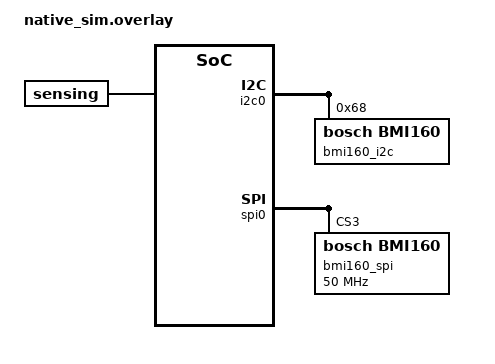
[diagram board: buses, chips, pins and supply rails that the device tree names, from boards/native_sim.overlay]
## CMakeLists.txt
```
# SPDX-License-Identifier: Apache-2.0

cmake_minimum_required(VERSION 3.28.0)
find_package(Zephyr REQUIRED HINTS $ENV{ZEPHYR_BASE})
project(test_sensing)

FILE(GLOB app_sources src/*.c)
target_sources(app PRIVATE ${app_sources})
```

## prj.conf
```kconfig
CONFIG_TEST=y
CONFIG_ZTEST=y
CONFIG_LOG=y
CONFIG_EMUL=y
```

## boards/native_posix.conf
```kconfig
CONFIG_SPI_RTIO=y
```

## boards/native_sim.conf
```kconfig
#Enable BMI160 and BMI160 Emulator
CONFIG_BMI160_TRIGGER_NONE=y
CONFIG_EMUL_BMI160=y
CONFIG_SENSOR=y
CONFIG_SENSOR_INFO=y
```

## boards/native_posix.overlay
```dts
/* Copyright (c) 2023 Google LLC
 * SPDX-License-Identifier: Apache-2.0
 */

 #include <zephyr/sensing/sensor_types.h>

/ {
	accelgyro: accelgyro {
		compatible = "zephyr,sensing-pipe";
		status = "okay";
		dev = <&icm42688>;
		sensor-types = <SENSING_SENSOR_TYPE_MOTION_ACCELEROMETER_3D SENSING_SENSOR_TYPE_MOTION_GYROMETER_3D>;
	};
};

&spi0 {
	icm42688: icm42688@3 {
		compatible = "invensense,icm42688";
		int-gpios = <&gpio0 1 GPIO_ACTIVE_HIGH>;
		spi-max-frequency = <50000000>;
		reg = <3>;
	};
};
```

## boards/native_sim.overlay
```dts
/*
 * Copyright (c) 2024 Intel Corporation
 *
 * SPDX-License-Identifier: Apache-2.0
 */

#include <zephyr/sensing/sensing_sensor_types.h>

&i2c0 {
	bmi160_i2c: bmi@68 {
		compatible = "bosch,bmi160";
		reg = <0x68>;
	};
};

&spi0 {
	bmi160_spi: bmi@3 {
		compatible = "bosch,bmi160";
		reg = <0x3>;
		spi-max-frequency = <50000000>;
	};
};

/ {
	sensing: sensing-node {
		compatible = "zephyr,sensing";
		status = "okay";

		base_accel_gyro: base-accel-gyro {
			compatible = "zephyr,sensing-phy-3d-sensor";
			sensor-types = <SENSING_SENSOR_TYPE_MOTION_ACCELEROMETER_3D
					SENSING_SENSOR_TYPE_MOTION_GYROMETER_3D>;
			friendly-name = "Base Accel Gyro Sensor";
			minimal-interval = <625>;
			underlying-device = <&bmi160_i2c>;
			status = "okay";
		};

		lid_accel_gyro: lid-accel-gyro {
			compatible = "zephyr,sensing-phy-3d-sensor";
			sensor-types = <SENSING_SENSOR_TYPE_MOTION_ACCELEROMETER_3D
					SENSING_SENSOR_TYPE_MOTION_GYROMETER_3D>;
			friendly-name = "Lid Accel Gyro Sensor";
			minimal-interval = <625>;
			underlying-device = <&bmi160_spi>;
			status = "okay";
		};

		hinge_angle: hinge-angle {
			compatible = "zephyr,sensing-hinge-angle";
			sensor-types = <SENSING_SENSOR_TYPE_MOTION_HINGE_ANGLE>;
			friendly-name = "Hinge Angle Sensor";
			reporters = <&base_accel_gyro &lid_accel_gyro>;
			reporters-index = <0 0>;
			minimal-interval = <100000>;
			stream-mode;
			status = "okay";
		};
	};
};
```

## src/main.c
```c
/*
 * Copyright (c) 2024 Intel Corporation
 *
 * SPDX-License-Identifier: Apache-2.0
 */

#include <zephyr/device.h>
#include <zephyr/devicetree.h>
#include <zephyr/ztest.h>
#include <zephyr/sensing/sensing.h>
#include <zephyr/sensing/sensing_sensor.h>

#define DT_DRV_COMPAT	zephyr_sensing
#define MAX_SENSOR_TYPES 2
#define DT_SENSOR_INFO(node)		\
	{				\
		.name = DT_NODE_FULL_NAME(node),	\
		.friendly_name = DT_PROP(node, friendly_name), \
		.sensor_types = DT_PROP(node, sensor_types), \
		.sensor_type_count = DT_PROP_LEN(node, sensor_types), \
	}

struct sensor_info_t {
	const char *name;
	const char *friendly_name;
	const int sensor_types[MAX_SENSOR_TYPES];
	int sensor_type_count;
};

static const struct sensor_info_t sensors[] = {
	DT_FOREACH_CHILD_STATUS_OKAY_SEP(DT_DRV_INST(0), DT_SENSOR_INFO, (,))
};

static int get_total_sensor_counts(void)
{
	int total = 0;

	for (int i = 0; i < ARRAY_SIZE(sensors); i++) {
		total += sensors[i].sensor_type_count;
	}
	return total;
}

static bool check_sensor_type(const struct sensing_sensor_info *info,
			      const struct sensor_info_t *sensor)
{
	for (int i = 0; i < sensor->sensor_type_count; ++i) {
		if (info->type == sensor->sensor_types[i]) {
			return true;
		}
	}
	return false;
}

/**
 * @brief Test Get Sensors
 *
 * This test verifies sensing_get_sensors.
 */
ZTEST(sensing_tests, test_sensing_get_sensors)
{
	const struct sensing_sensor_info *info;
	int ret, total_sensor_counts = get_total_sensor_counts();
	int num = total_sensor_counts;

	ret = sensing_get_sensors(&num, &info);
	zassert_equal(ret, 0, "Sensing Get Sensors failed");
	zassert_equal(num, total_sensor_counts, "Expected %d sensors, but got %d",
		      total_sensor_counts, num);
	zassert_not_null(info, "Expected sensor info to be not null");

	for (int i = 0; i < num; ++i) {
		bool found = false;

		for (int j = 0; j < ARRAY_SIZE(sensors); ++j) {
			if (strcmp(info[i].name, sensors[j].name) == 0) {
				zassert_true(strcmp(info[i].friendly_name,
						    sensors[j].friendly_name) == 0,
					     "Mismatch in friendly name for sensor '%s'",
					     info[i].name);
				zassert_true(check_sensor_type(&info[i], &sensors[j]),
					     "Mismatch in sensor type for sensor '%s'",
					     info[i].name);
				found = true;
				break;
			}
		}
		zassert_true(found, "Sensor '%s' not found", info[i].name);
	}
}

ZTEST_SUITE(sensing_tests, NULL, NULL, NULL, NULL, NULL);
```

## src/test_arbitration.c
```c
/*
 * Copyright (c) 2023 Google LLC
 * SPDX-License-Identifier: Apache-2.0
 */

#include <zephyr/drivers/sensor.h>
#include <zephyr/sensing/sensing.h>
#include <zephyr/sensing/sensor.h>
#include <zephyr/ztest.h>
#include <zephyr/drivers/emul.h>

#include "icm42688_emul.h"
#include "icm42688_reg.h"

ZTEST(sensing, test_single_connection_arbitration)
{
	const struct emul *icm42688 = EMUL_DT_GET(DT_NODELABEL(icm42688));
	const struct sensing_sensor_info *sensor = SENSING_SENSOR_INFO_GET(
		DT_NODELABEL(accelgyro), SENSING_SENSOR_TYPE_MOTION_ACCELEROMETER_3D);
	const struct sensing_callback_list cb_list;
	sensing_sensor_handle_t handle;

	zassert_not_null(sensor);

	/* Open connection */
	zassert_ok(sensing_open_sensor(sensor, &cb_list, &handle));

	struct sensing_sensor_attribute attribute = {
		.attribute = SENSOR_ATTR_SAMPLING_FREQUENCY,
		.value = FIELD_PREP(GENMASK(31, 24), 100),
		.shift = 8,
	};
	zassert_ok(sensing_set_attributes(handle, SENSING_SENSOR_MODE_DONE, &attribute, 1));

	uint8_t reg_val;
	icm42688_emul_get_reg(icm42688, REG_ACCEL_CONFIG0, &reg_val, 1);

	zassert_equal(0b1000, FIELD_GET(MASK_ACCEL_ODR, reg_val), "ACCEL_CONFIG0=0x%02x",
		      FIELD_GET(MASK_ACCEL_ODR, reg_val));
}

ZTEST(sensing, test_double_connection_arbitration)
{
	const struct emul *icm42688 = EMUL_DT_GET(DT_NODELABEL(icm42688));
	const struct sensing_sensor_info *sensor = SENSING_SENSOR_INFO_GET(
		DT_NODELABEL(accelgyro), SENSING_SENSOR_TYPE_MOTION_ACCELEROMETER_3D);
	const struct sensing_callback_list cb_list;
	sensing_sensor_handle_t handles[2];
	uint8_t reg_val;

	zassert_not_null(sensor);

	/* Open connection */
	zassert_ok(sensing_open_sensor(sensor, &cb_list, &handles[0]));
	zassert_ok(sensing_open_sensor(sensor, &cb_list, &handles[1]));

	struct sensing_sensor_attribute attribute = {
		.attribute = SENSOR_ATTR_SAMPLING_FREQUENCY,
		.value = FIELD_PREP(GENMASK(31, 23), 100),
		.shift = 9,
	};
	zassert_ok(sensing_set_attributes(handles[0], SENSING_SENSOR_MODE_DONE, &attribute, 1));

	attribute.value = FIELD_PREP(GENMASK(31, 23), 200);
	zassert_ok(sensing_set_attributes(handles[1], SENSING_SENSOR_MODE_DONE, &attribute, 1));

	icm42688_emul_get_reg(icm42688, REG_ACCEL_CONFIG0, &reg_val, 1);
	zassert_equal(0b0111, FIELD_GET(MASK_ACCEL_ODR, reg_val), "ACCEL_CONFIG0=0x%02x",
		      FIELD_GET(MASK_ACCEL_ODR, reg_val));

	/* Close the second connection and check that we're back to 100Hz */
	zassert_ok(sensing_close_sensor(handles[1]));
	icm42688_emul_get_reg(icm42688, REG_ACCEL_CONFIG0, &reg_val, 1);
	zassert_equal(0b1000, FIELD_GET(MASK_ACCEL_ODR, reg_val), "ACCEL_CONFIG0=0x%02x",
		      FIELD_GET(MASK_ACCEL_ODR, reg_val));
}
```

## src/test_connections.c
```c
/*
 * Copyright (c) 2023 Google LLC
 * SPDX-License-Identifier: Apache-2.0
 */

#include <zephyr/drivers/sensor.h>
#include <zephyr/sensing/sensing.h>
#include <zephyr/sensing/sensor.h>
#include <zephyr/ztest.h>

ZTEST(sensing, test_open_connections_limit)
{
	const struct sensing_sensor_info *sensor = SENSING_SENSOR_INFO_GET(
		DT_NODELABEL(accelgyro), SENSING_SENSOR_TYPE_MOTION_ACCELEROMETER_3D);
	const struct sensing_callback_list cb_list;
	sensing_sensor_handle_t handles[CONFIG_SENSING_MAX_DYNAMIC_CONNECTIONS + 1];

	zassert_not_null(sensor);

	/* Allocate all the connection */
	for (int i = 0; i < CONFIG_SENSING_MAX_DYNAMIC_CONNECTIONS; ++i) {
		zassert_ok(sensing_open_sensor(sensor, &cb_list, &handles[i]));
	}

	/* Try to over allocate */
	zassert_equal(-ENOSPC,
		      sensing_open_sensor(sensor, &cb_list,
					  &handles[CONFIG_SENSING_MAX_DYNAMIC_CONNECTIONS]));

	/* Free one connection */
	zassert_ok(sensing_close_sensor(handles[0]));

	/* Allocate one */
	zassert_ok(sensing_open_sensor(sensor, &cb_list,
				       &handles[CONFIG_SENSING_MAX_DYNAMIC_CONNECTIONS]));
}

ZTEST(sensing, test_connection_get_info)
{
	const struct sensing_sensor_info *sensor = SENSING_SENSOR_INFO_GET(
		DT_NODELABEL(accelgyro), SENSING_SENSOR_TYPE_MOTION_ACCELEROMETER_3D);
	const struct sensing_callback_list cb_list;
	sensing_sensor_handle_t handle;

	zassert_not_null(sensor);
	zassert_ok(sensing_open_sensor(sensor, &cb_list, &handle));

	const struct sensing_sensor_info *info = sensing_get_sensor_info(handle);
	zassert_equal_ptr(sensor, info);
}
```

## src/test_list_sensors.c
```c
/*
 * Copyright (c) 2023 Google LLC
 * SPDX-License-Identifier: Apache-2.0
 */

#include <zephyr/drivers/sensor.h>
#include <zephyr/sensing/sensing.h>
#include <zephyr/sensing/sensor.h>
#include <zephyr/ztest.h>

ZTEST(sensing, test_list_sensors)
{
	int num_sensors;
	const struct sensing_sensor_info *sensors;
	const struct sensor_info *expected_info = &SENSOR_INFO_DT_NAME(DT_NODELABEL(icm42688));

	zassert_ok(sensing_get_sensors(&num_sensors, &sensors));
	zassert_equal(2, num_sensors, "num_sensors=%d", num_sensors);

	zassert_equal_ptr(expected_info, sensors[0].info);
	zassert_equal_ptr(expected_info, sensors[1].info);

	zassert_true(sensors[0].type == SENSING_SENSOR_TYPE_MOTION_ACCELEROMETER_3D ||
		     sensors[0].type == SENSING_SENSOR_TYPE_MOTION_GYROMETER_3D);
	zassert_true(sensors[1].type == SENSING_SENSOR_TYPE_MOTION_ACCELEROMETER_3D ||
		     sensors[1].type == SENSING_SENSOR_TYPE_MOTION_GYROMETER_3D);
	zassert_not_equal(sensors[0].type, sensors[1].type);
}

ZTEST(sensing, test_get_single_node)
{
	const struct sensor_info *expected_info = &SENSOR_INFO_DT_NAME(DT_NODELABEL(icm42688));
	const struct sensing_sensor_info *info = SENSING_SENSOR_INFO_GET(
		DT_NODELABEL(accelgyro), SENSING_SENSOR_TYPE_MOTION_ACCELEROMETER_3D);

	zassert_equal_ptr(expected_info, info->info);
	zassert_equal(SENSING_SENSOR_TYPE_MOTION_ACCELEROMETER_3D, info->type);

	info = SENSING_SENSOR_INFO_GET(DT_NODELABEL(accelgyro),
				       SENSING_SENSOR_TYPE_MOTION_GYROMETER_3D);

	zassert_equal_ptr(expected_info, info->info);
	zassert_equal(SENSING_SENSOR_TYPE_MOTION_GYROMETER_3D, info->type);
}
```
